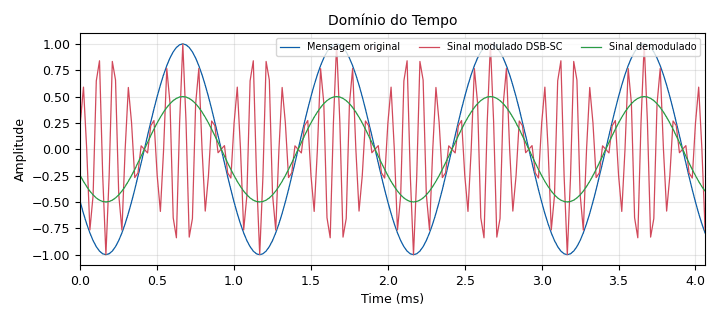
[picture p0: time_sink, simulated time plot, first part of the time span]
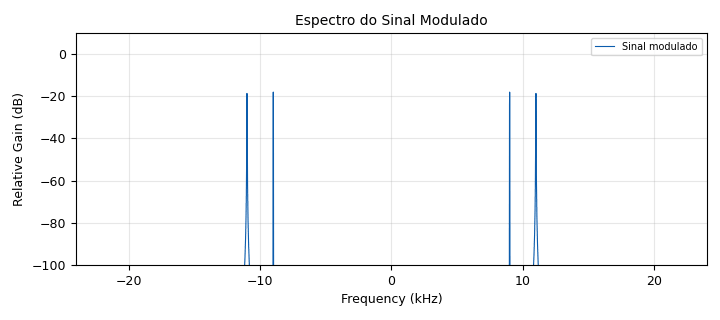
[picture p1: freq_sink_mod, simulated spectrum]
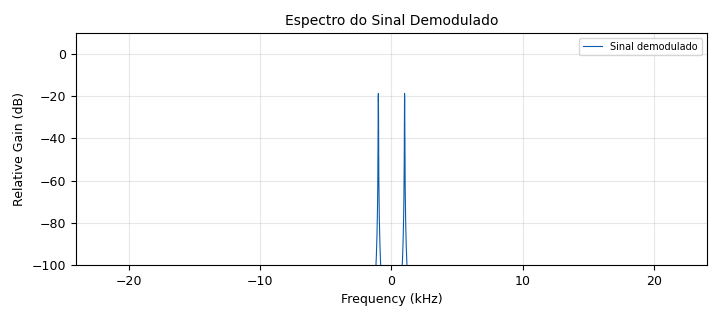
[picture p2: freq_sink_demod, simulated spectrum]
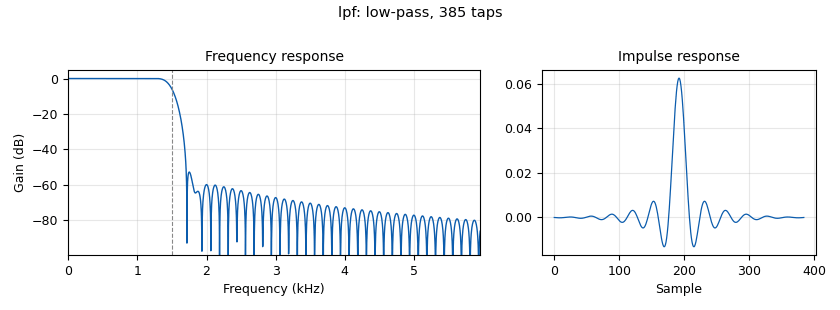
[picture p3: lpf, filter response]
options:
  parameters:
    author: Prof. Daniel Costa Araújo
    description: Prática 02 - Modulação AM DSB-SC
    generate_options: qt_gui
    id: pratica_02_am_dsbsc
    output_language: python
    title: Prática 02 - Modulação AM DSB-SC
  states: {}

blocks:
- name: samp_rate
  id: variable
  parameters:
    comment: Taxa de amostragem
    value: '48000'
  states: {}
- name: fc
  id: variable
  parameters:
    comment: Frequência da portadora
    value: '10000'
  states: {}
- name: fm
  id: variable_qtgui_range
  parameters:
    comment: Frequência da mensagem
    gui_hint: 0,0,1,1
    label: Frequência mensagem fm (Hz)
    start: '200'
    step: '200'
    stop: '6000'
    value: '1000'
  states: {}
- name: phase_deg
  id: variable_qtgui_range
  parameters:
    comment: Erro de fase do oscilador local (graus)
    gui_hint: 0,1,1,1
    label: Erro de fase (graus)
    start: '0'
    step: '5'
    stop: '90'
    value: '0'
  states: {}
- name: phase_rad
  id: variable
  parameters:
    comment: Conversão graus para radianos
    value: phase_deg * 3.14159265 / 180
  states: {}
- name: lpf_cutoff
  id: variable_qtgui_range
  parameters:
    comment: Frequência de corte do LPF
    gui_hint: 1,0,1,1
    label: LPF Cutoff (Hz)
    start: '200'
    step: '100'
    stop: '10000'
    value: '1500'
  states: {}
- name: src_mensagem
  id: analog_sig_source_x
  parameters:
    amp: '1.0'
    comment: Sinal mensagem m(t)
    freq: fm
    offset: '0'
    phase: '0'
    samp_rate: samp_rate
    type: float
    waveform: analog.GR_COS_WAVE
  states: {}
- name: src_portadora
  id: analog_sig_source_x
  parameters:
    amp: '1.0'
    comment: Portadora c(t)
    freq: fc
    offset: '0'
    phase: '0'
    samp_rate: samp_rate
    type: float
    waveform: analog.GR_COS_WAVE
  states: {}
- name: src_local
  id: analog_sig_source_x
  parameters:
    amp: '1.0'
    comment: Oscilador local (demod)
    freq: fc
    offset: '0'
    phase: phase_rad
    samp_rate: samp_rate
    type: float
    waveform: analog.GR_COS_WAVE
  states: {}
- name: mult_mod
  id: blocks_multiply_xx
  parameters:
    comment: 'Modulação DSB-SC: m(t) × c(t)'
    type: float
  states: {}
- name: throttle
  id: blocks_throttle2
  parameters:
    samples_per_second: samp_rate
    type: float
  states: {}
- name: mult_demod
  id: blocks_multiply_xx
  parameters:
    comment: 'Demodulação: s(t) × cos(2πfc·t + θ)'
    type: float
  states: {}
- name: lpf
  id: low_pass_filter
  parameters:
    comment: Filtro passa-baixas para recuperar m(t)
    cutoff_freq: lpf_cutoff
    decim: '1'
    gain: '1'
    samp_rate: samp_rate
    type: fir_filter_fff
    width: '300'
    win: window.WIN_HAMMING
  states: {}
- name: time_sink
  id: qtgui_time_sink_x
  parameters:
    autoscale: 'True'
    grid: 'True'
    gui_hint: 2,0,1,1
    label1: Mensagem original
    label2: Sinal modulado DSB-SC
    label3: Sinal demodulado
    name: '"Domínio do Tempo"'
    nconnections: '3'
    size: '1024'
    srate: samp_rate
    type: float
    ymax: '1.5'
    ymin: '-1.5'
  states: {}
- name: freq_sink_mod
  id: qtgui_freq_sink_x
  parameters:
    bw: samp_rate
    fc: '0'
    fftsize: '4096'
    grid: 'True'
    gui_hint: 2,1,1,1
    label1: Sinal modulado
    name: '"Espectro do Sinal Modulado"'
    type: float
    wintype: window.WIN_HANN
    ymin: '-100'
  states: {}
- name: freq_sink_demod
  id: qtgui_freq_sink_x
  parameters:
    bw: samp_rate
    fc: '0'
    fftsize: '4096'
    grid: 'True'
    gui_hint: 3,1,1,1
    label1: Sinal demodulado
    name: '"Espectro do Sinal Demodulado"'
    type: float
    wintype: window.WIN_HANN
    ymin: '-100'
  states: {}

connections:
- [src_mensagem, '0', mult_mod, '0']
- [src_portadora, '0', mult_mod, '1']
- [mult_mod, '0', throttle, '0']
- [throttle, '0', mult_demod, '0']
- [src_local, '0', mult_demod, '1']
- [mult_demod, '0', lpf, '0']
- [src_mensagem, '0', time_sink, '0']
- [throttle, '0', time_sink, '1']
- [lpf, '0', time_sink, '2']
- [throttle, '0', freq_sink_mod, '0']
- [lpf, '0', freq_sink_demod, '0']

metadata:
  file_format: 1
  grc_version: 3.10.12.0
